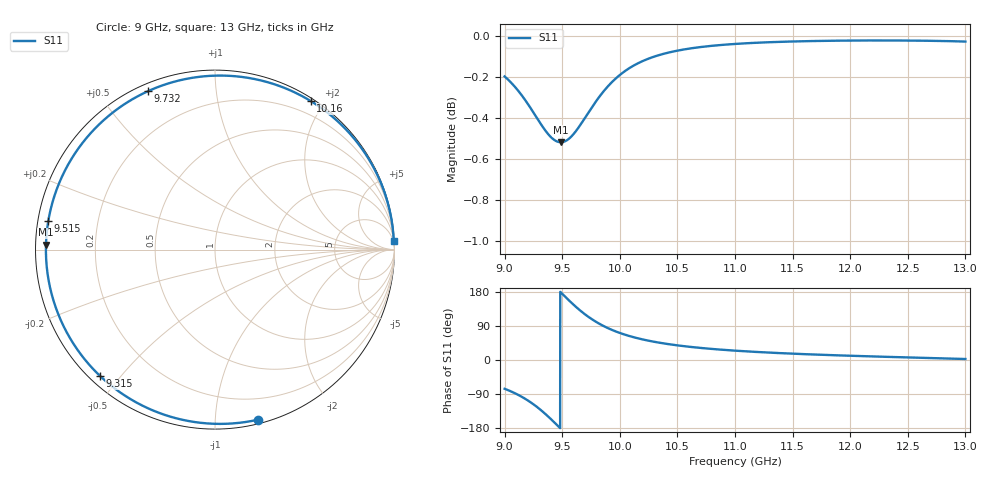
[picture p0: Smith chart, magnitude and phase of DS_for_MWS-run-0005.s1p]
! TOUCHSTONE file generated by CST DESIGN STUDIO
! Date and time: Tue Feb  4 14:15:59 2025
! Project name: C:\Work\MatlabApps\UnitCellOptimizationMatlab\CST\unitcell.cst
! Tree item: Tasks\Sweep1\SPara1\S-Parameters
! Header version: 2024
! Port assignment regex: !\s*Touchstone port\s*([0-9]+)\s*=\s*(CST MWS port|CST DES external port|CST DES block port)\s*(.+)\s* \(\"(.*)\"\)(\s*mode\s*([0-9]+))?.*
! Touchstone port assignment:
! Touchstone port 1 = CST DES external port 1 ("")
# GHz S MA R 50
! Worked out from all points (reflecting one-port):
!   4001 points, 9 GHz to 13 GHz, reference 50 ohm
!   lowest |S11| = -0.5 dB at 9.488 GHz (marker M1), VSWR 33.56, Z = 1.49 + j0.707 ohm
!   phase of S11 starts at -76 deg and turns -281 deg over the sweep
!   S11 on the Smith chart (normalised r, x): 9 GHz: 0.03, -1.28; 9.315 GHz: 0.03, -0.44; 9.515 GHz: 0.03, +0.09; 9.732 GHz: 0.03, +0.66; 10.16 GHz: 0.03, +1.83; 13 GHz: 3, +44
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9  0.9775 -75.9
9.082  0.9723 -86.6
9.181  0.9644 -102.8
9.251  0.9579 -117.0
9.315  0.9517 -132.2
9.361  0.9477 -144.4
9.409  0.9444 -158.0
9.449  0.9427 -169.8
9.488  0.9421 178.4
9.5  0.9422 174.7
9.515  0.9424 170.2
9.567  0.9444 154.8
9.627  0.9487 138.1
9.679  0.9533 124.9
9.732  0.9583 112.9
9.785  0.9632 102.3
9.845  0.9682 91.9
9.921  0.9737 80.8
10  0.9783 71.4
10.157  0.9847 57.2
10.312  0.9886 47.3
10.5  0.9917 38.6
10.722  0.9938 31.3
11  0.9954 24.7
11.5  0.9968 16.7
12  0.9973 11.2
12.5  0.9973 6.8
13  0.9967 2.6
